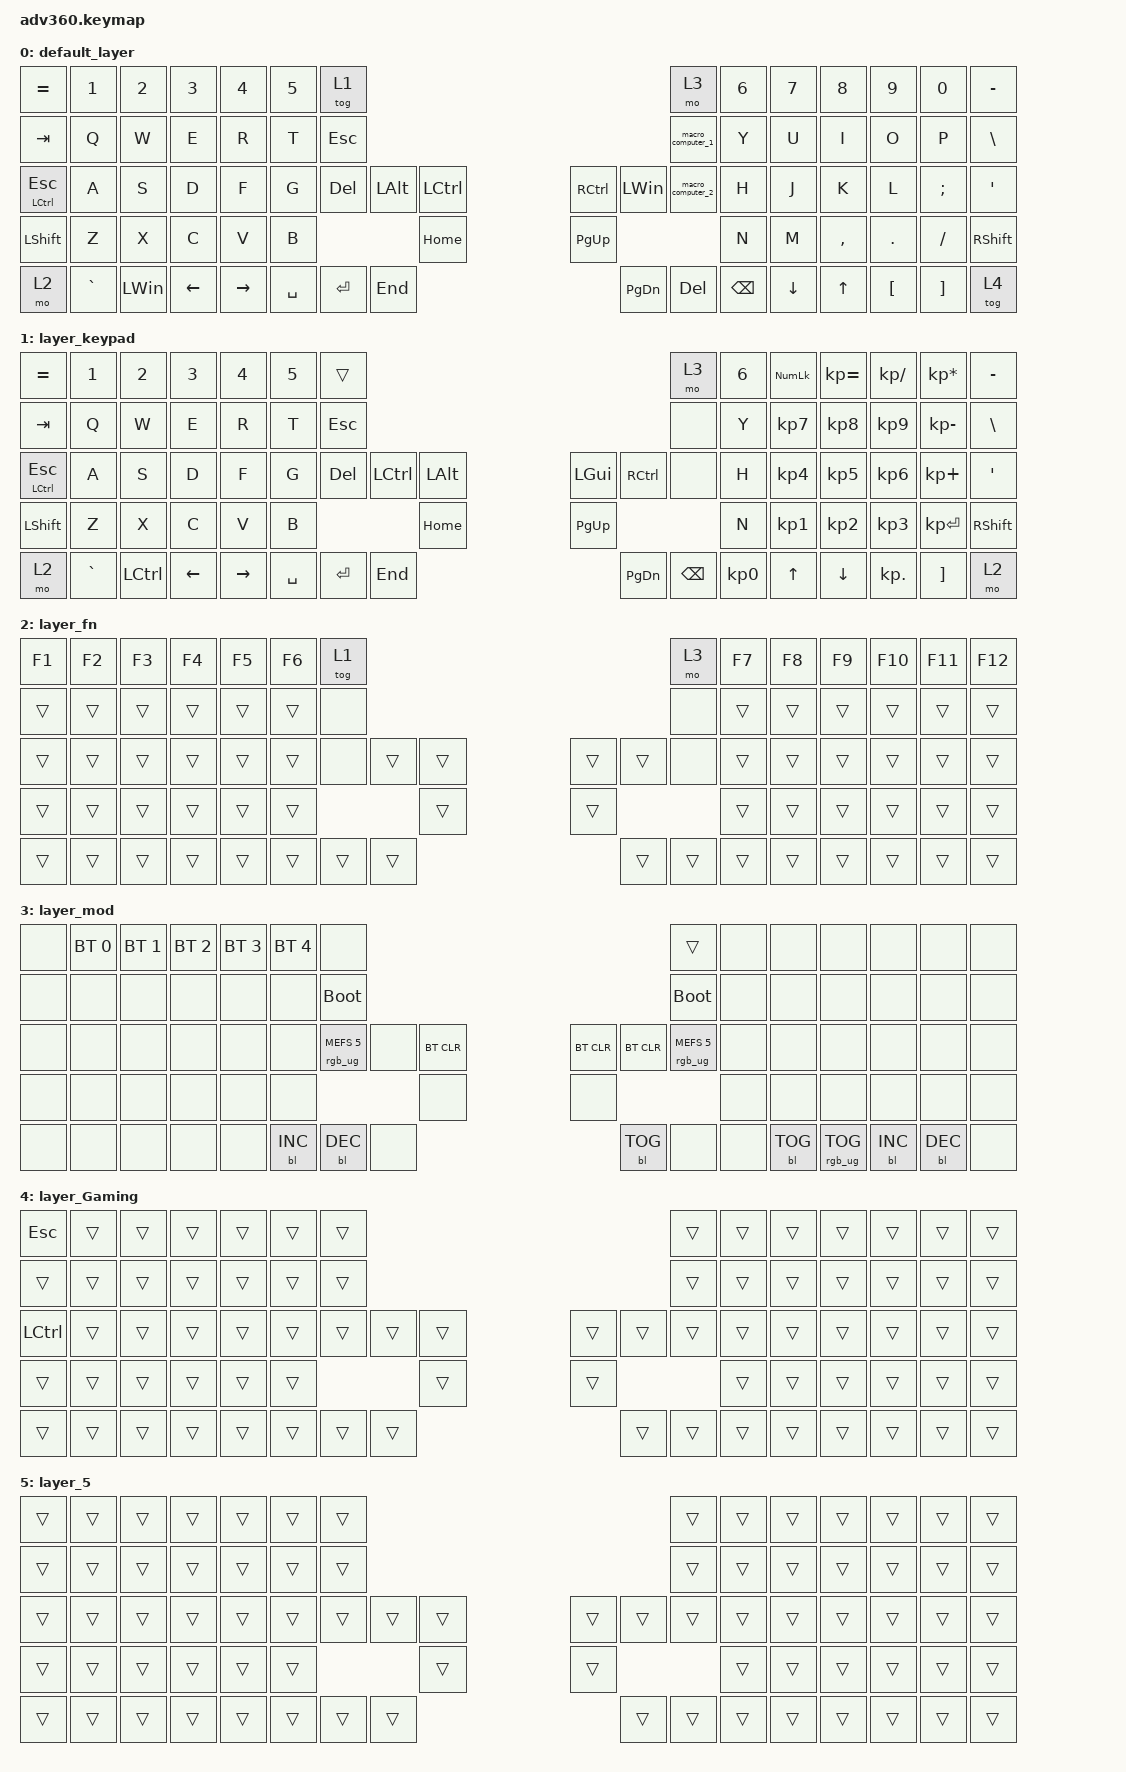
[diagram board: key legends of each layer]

/*
 * Copyright (c) 2020 The ZMK Contributors
 *
 * SPDX-License-Identifier: MIT
 */


/* THIS FILE WAS GENERATED!
 *
 * This file was generated automatically. You may or may not want to
 * edit it directly.
 */

#include <behaviors.dtsi>
#include <dt-bindings/zmk/keys.h>
#include <dt-bindings/zmk/bt.h>
#include <dt-bindings/zmk/rgb.h>
#include <dt-bindings/zmk/backlight.h>

/ {
  behaviors {
    #include "macros.dtsi"

    hm: homerow_mods {
        compatible = "zmk,behavior-hold-tap";
        label = "HOMEROW_MODS";
        #binding-cells = <2>;
        tapping-term-ms = <200>;
        quick_tap_ms = <175>;
        flavor = "tap-preferred";
        bindings = <&kp>, <&kp>;
    };
  };

    keymap {
        compatible = "zmk,keymap";


        default_layer {
            bindings = <
            &kp EQUAL     &kp N1        &kp N2    &kp N3     &kp N4  &kp N5                &tog 1                                                                                               &mo 3  &kp N6    &kp N7     &kp N8    &kp N9    &kp N0  &kp MINUS
              &kp TAB      &kp Q         &kp W     &kp E      &kp R   &kp T               &kp ESC                                                                                   &macro_computer_1   &kp Y     &kp U      &kp I     &kp O     &kp P   &kp BSLH
 &mt LEFT_CONTROL ESC      &kp A         &kp S     &kp D      &kp F   &kp G            &kp DELETE  &kp LEFT_ALT  &kp LEFT_CONTROL                  &kp RIGHT_CONTROL  &kp LEFT_WIN  &macro_computer_2   &kp H     &kp J      &kp K     &kp L  &kp SEMI    &kp SQT
            &kp LSHFT      &kp Z         &kp X     &kp C      &kp V   &kp B                                              &kp HOME                          &kp PG_UP                                    &kp N     &kp M  &kp COMMA   &kp DOT  &kp FSLH  &kp RSHFT
                &mo 2  &kp GRAVE  &kp LEFT_WIN  &kp LEFT  &kp RIGHT                     &kp SPACE     &kp ENTER           &kp END                          &kp PG_DN    &kp DELETE      &kp BACKSPACE          &kp DOWN     &kp UP  &kp LBKT  &kp RBKT     &tog 4
            >;
        };

        layer_keypad {
            bindings = <
     &kp EQUAL     &kp N1     &kp N2    &kp N3     &kp N4  &kp N5               &trans                                                                     &mo 3  &kp N6  &kp KP_NUM  &kp KP_EQUAL  &kp KP_DIVIDE  &kp KP_MULTIPLY  &kp MINUS
       &kp TAB      &kp Q      &kp W     &kp E      &kp R   &kp T              &kp ESC                                                                     &none   &kp Y   &kp KP_N7     &kp KP_N8      &kp KP_N9     &kp KP_MINUS   &kp BSLH
 &mt LCTRL ESC      &kp A      &kp S     &kp D      &kp F   &kp G              &kp DEL  &kp LCTRL  &kp LALT                   &kp LGUI      &kp RCTRL      &none   &kp H   &kp KP_N4     &kp KP_N5      &kp KP_N6      &kp KP_PLUS    &kp SQT
     &kp LSHFT      &kp Z      &kp X     &kp C      &kp V   &kp B                                  &kp HOME                  &kp PG_UP                             &kp N   &kp KP_N1     &kp KP_N2      &kp KP_N3     &kp KP_ENTER  &kp RSHFT
         &mo 2  &kp GRAVE  &kp LCTRL  &kp LEFT  &kp RIGHT                    &kp SPACE  &kp ENTER   &kp END                  &kp PG_DN  &kp BACKSPACE  &kp KP_N0              &kp UP      &kp DOWN     &kp KP_DOT         &kp RBKT      &mo 2
            >;
        };

        layer_fn {
            bindings = <
 &kp F1  &kp F2  &kp F3  &kp F4  &kp F5  &kp F6            &tog 1                                                   &mo 3  &kp F7  &kp F8  &kp F9  &kp F10  &kp F11  &kp F12
 &trans  &trans  &trans  &trans  &trans  &trans             &none                                                   &none  &trans  &trans  &trans   &trans   &trans   &trans
 &trans  &trans  &trans  &trans  &trans  &trans             &none  &trans  &trans                  &trans  &trans   &none  &trans  &trans  &trans   &trans   &trans   &trans
 &trans  &trans  &trans  &trans  &trans  &trans                            &trans                  &trans                  &trans  &trans  &trans   &trans   &trans   &trans
 &trans  &trans  &trans  &trans  &trans                    &trans  &trans  &trans                  &trans  &trans  &trans          &trans  &trans   &trans   &trans   &trans
            >;
        };

        layer_mod {
            bindings = <
  &none  &bt BT_SEL 0  &bt BT_SEL 1  &bt BT_SEL 2  &bt BT_SEL 3  &bt BT_SEL 4                             &none                                                                                  &trans   &none       &none            &none       &none       &none   &none
  &none         &none         &none         &none         &none         &none                       &bootloader                                                                             &bootloader   &none       &none            &none       &none       &none   &none
  &none         &none         &none         &none         &none         &none            &rgb_ug RGB_MEFS_CMD 5       &none  &bt BT_CLR                  &bt BT_CLR  &bt BT_CLR  &rgb_ug RGB_MEFS_CMD 5   &none       &none            &none       &none       &none   &none
  &none         &none         &none         &none         &none         &none                                                     &none                       &none                                       &none       &none            &none       &none       &none   &none
  &none         &none         &none         &none         &none                                      &bl BL_INC  &bl BL_DEC       &none                  &bl BL_TOG       &none                   &none          &bl BL_TOG  &rgb_ug RGB_TOG  &bl BL_INC  &bl BL_DEC   &none
            >;
        };

        layer_Gaming {
            bindings = <
   &kp ESC  &trans  &trans  &trans  &trans  &trans            &trans                                                  &trans  &trans  &trans  &trans  &trans  &trans  &trans
    &trans  &trans  &trans  &trans  &trans  &trans            &trans                                                  &trans  &trans  &trans  &trans  &trans  &trans  &trans
 &kp LCTRL  &trans  &trans  &trans  &trans  &trans            &trans  &trans  &trans                  &trans  &trans  &trans  &trans  &trans  &trans  &trans  &trans  &trans
    &trans  &trans  &trans  &trans  &trans  &trans                            &trans                  &trans                  &trans  &trans  &trans  &trans  &trans  &trans
    &trans  &trans  &trans  &trans  &trans                    &trans  &trans  &trans                  &trans  &trans  &trans          &trans  &trans  &trans  &trans  &trans
            >;
        };

        layer_5 {
            bindings = <
 &trans  &trans  &trans  &trans  &trans  &trans            &trans                                                  &trans  &trans  &trans  &trans  &trans  &trans  &trans
 &trans  &trans  &trans  &trans  &trans  &trans            &trans                                                  &trans  &trans  &trans  &trans  &trans  &trans  &trans
 &trans  &trans  &trans  &trans  &trans  &trans            &trans  &trans  &trans                  &trans  &trans  &trans  &trans  &trans  &trans  &trans  &trans  &trans
 &trans  &trans  &trans  &trans  &trans  &trans                            &trans                  &trans                  &trans  &trans  &trans  &trans  &trans  &trans
 &trans  &trans  &trans  &trans  &trans                    &trans  &trans  &trans                  &trans  &trans  &trans          &trans  &trans  &trans  &trans  &trans
            >;
        };

    };
};
